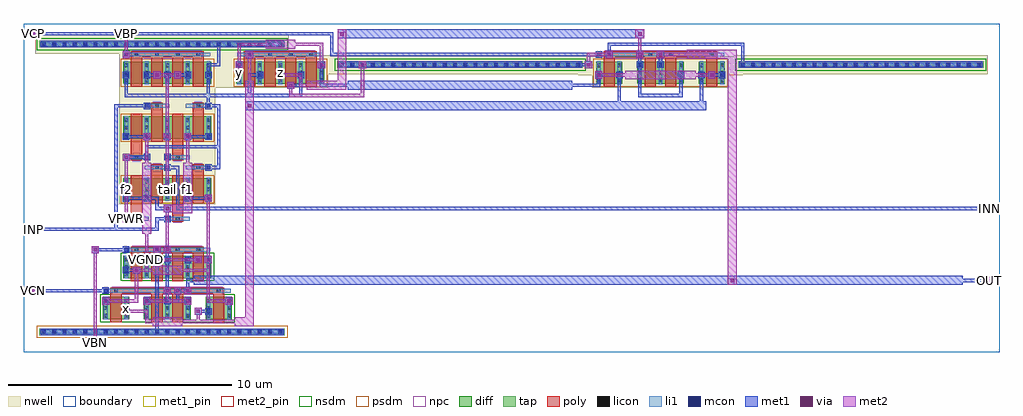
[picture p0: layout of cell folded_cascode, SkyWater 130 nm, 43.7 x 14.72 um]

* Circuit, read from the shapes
.subckt folded_cascode INN INP OUT VBN VBP VCN VCP VGND VPWR f1 f2 tail x y z
XM1 x VCN f1 VGND sky130_fd_pr__nfet_01v8 w=1 l=0.5 m=2
XM2 VGND VBN f1 VGND sky130_fd_pr__nfet_01v8 w=1 l=0.5 m=2
XM3 OUT VCN f2 VGND sky130_fd_pr__nfet_01v8 w=1 l=0.5 m=2
XM4 f2 VBN VGND VGND sky130_fd_pr__nfet_01v8 w=1 l=0.5 m=2
XM5 f2 VPWR f2 VPWR sky130_fd_pr__pfet_01v8 w=1 l=0.5 m=2
XM6 f1 VPWR f1 VPWR sky130_fd_pr__pfet_01v8 w=1 l=0.5 m=2
XM7 tail VBP VPWR VPWR sky130_fd_pr__pfet_01v8 w=1 l=0.5 m=4
XM8 tail INN f2 VPWR sky130_fd_pr__pfet_01v8 w=1 l=0.5 m=2
XM9 tail INP f1 VPWR sky130_fd_pr__pfet_01v8 w=1 l=0.5 m=2
XM10 VPWR x y VPWR sky130_fd_pr__pfet_01v8 w=1 l=0.5 m=2
XM11 z x VPWR VPWR sky130_fd_pr__pfet_01v8 w=1 l=0.5 m=2
XM12 x VCP y VPWR sky130_fd_pr__pfet_01v8 w=1 l=0.5 m=2
XM13 OUT VCP z VPWR sky130_fd_pr__pfet_01v8 w=1 l=0.5 m=2
.ends

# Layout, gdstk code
import gdstk
lib = gdstk.Library(unit=1e-6, precision=1e-09)
def R(c, l, rs):  # rectangles x0, y0, x1, y1
    for r in rs: c.add(gdstk.rectangle(r[:2], r[2:], *l))
def A(c, l, x, y, w, h, nx, ny, dx, dy):  # array of equal rectangles
    R(c, l, [(x+i*dx, y+j*dy, x+i*dx+w, y+j*dy+h) for i in range(nx) for j in range(ny)])
nwell = (64, 20)
diff = (65, 20)
tap = (65, 44)
poly = (66, 20)
licon = (66, 44)
li1 = (67, 20)
mcon = (67, 44)
met1_pin = (68, 16)
met1 = (68, 20)
via = (68, 44)
met2_pin = (69, 16)
met2 = (69, 20)
nsdm = (93, 44)
psdm = (94, 20)
npc = (95, 20)
boundary = (235, 4)

folded_cascode = lib.new_cell('folded_cascode')
R(folded_cascode, nwell, [(4.295,6.625,8.585,11.84), (4.295,11.84,13.645,12.46), (25.455,11.84,31.585,12.41), (24.828,12.41,32.212,12.46), (4.295,12.46,43.165,13.2), (4.295,13.2,25.852,13.25), (31.188,13.2,43.165,13.25), (4.295,13.25,25.225,13.3), (31.815,13.25,43.165,13.3), (4.295,13.3,11.885,13.38), (0.535,13.38,11.885,14.22)])
R(folded_cascode, diff, [(3.555,1.485,4.725,2.485), (5.395,1.485,7.485,2.485), (8.155,1.485,9.325,2.485), (4.475,3.325,8.405,4.325), (4.475,6.805,8.405,7.805), (4.475,9.565,8.405,10.565), (4.475,12.02,8.405,13.02), (9.535,12.02,13.465,13.02), (25.635,12.02,26.805,13.02), (27.475,12.02,29.565,13.02), (30.235,12.02,31.405,13.02)])
R(folded_cascode, tap, [(0.715,0.775,11.705,1.065), (14.055,12.735,25.045,13.025), (31.995,12.735,42.985,13.025), (0.715,13.655,11.705,13.945)])
A(folded_cascode, poly, 4.81, 3.195, 0.5, 1.405, 4, 1, 0.92, 0)
A(folded_cascode, poly, 4.81, 11.89, 0.5, 1.45, 4, 1, 0.92, 0)
A(folded_cascode, poly, 9.87, 11.89, 0.5, 1.45, 4, 1, 0.92, 0)
R(folded_cascode, poly, [(3.89,1.355,4.39,2.76), (5.73,1.355,6.23,2.76), (6.65,1.355,7.15,2.76), (8.49,1.355,8.99,2.76), (3.89,2.625,8.99,2.895), (4.81,4.465,8.07,4.735), (4.81,5.845,5.31,6.115), (6.65,5.845,7.15,6.115), (4.81,5.98,5.31,7.935), (6.65,5.98,7.15,7.935), (5.73,6.675,6.23,8.28), (7.57,6.675,8.07,8.28), (5.73,8.145,6.23,8.415), (7.57,8.145,8.07,8.415), (4.81,8.605,5.31,8.875), (6.65,8.605,7.15,8.875), (4.81,8.74,5.31,10.695), (6.65,8.74,7.15,10.695), (5.73,9.435,6.23,11.04), (7.57,9.435,8.07,11.04), (5.73,10.905,6.23,11.175), (7.57,10.905,8.07,11.175), (25.97,11.89,26.47,13.34), (27.81,11.89,28.31,13.34), (28.73,11.89,29.23,13.34), (30.57,11.89,31.07,13.34), (4.81,13.205,8.07,13.475), (9.87,13.205,13.13,13.475), (25.97,13.205,31.07,13.475)])
A(folded_cascode, licon, 0.835, 0.835, 0.17, 0.17, 24, 2, 0.46, 12.88)
A(folded_cascode, licon, 3.595, 1.56, 0.17, 0.17, 7, 3, 0.92, 0.34)
A(folded_cascode, licon, 4.515, 3.4, 0.17, 0.17, 5, 3, 0.92, 0.34)
A(folded_cascode, licon, 4.975, 4.515, 0.17, 0.17, 4, 2, 0.92, 8.74)
A(folded_cascode, licon, 4.515, 6.88, 0.17, 0.17, 5, 3, 0.92, 0.34)
A(folded_cascode, licon, 4.515, 9.64, 0.17, 0.17, 5, 3, 0.92, 0.34)
A(folded_cascode, licon, 4.515, 12.095, 0.17, 0.17, 5, 3, 0.92, 0.34)
A(folded_cascode, licon, 9.575, 12.095, 0.17, 0.17, 5, 3, 0.92, 0.34)
A(folded_cascode, licon, 25.675, 12.095, 0.17, 0.17, 7, 3, 0.92, 0.34)
A(folded_cascode, licon, 14.175, 12.795, 0.17, 0.17, 24, 1, 0.46, 0)
A(folded_cascode, licon, 32.115, 12.795, 0.17, 0.17, 24, 1, 0.46, 0)
A(folded_cascode, licon, 10.035, 13.255, 0.17, 0.17, 4, 1, 0.92, 0)
R(folded_cascode, licon, [(4.055,2.675,4.225,2.845), (5.895,2.675,6.065,2.845), (6.815,2.675,6.985,2.845), (8.655,2.675,8.825,2.845), (4.975,5.895,5.145,6.065), (6.815,5.895,6.985,6.065), (5.895,8.195,6.065,8.365), (7.735,8.195,7.905,8.365), (4.975,8.655,5.145,8.825), (6.815,8.655,6.985,8.825), (5.895,10.955,6.065,11.125), (7.735,10.955,7.905,11.125), (26.135,13.255,26.305,13.425), (27.975,13.255,28.145,13.425), (28.895,13.255,29.065,13.425), (30.735,13.255,30.905,13.425)])
A(folded_cascode, li1, 3.595, 1.48, 0.17, 1.01, 7, 1, 0.92, 0)
A(folded_cascode, li1, 4.515, 3.32, 0.17, 1.01, 5, 2, 0.92, 3.48)
A(folded_cascode, li1, 4.515, 9.56, 0.17, 1.01, 5, 2, 0.92, 2.455)
A(folded_cascode, li1, 9.575, 12.015, 0.17, 1.01, 5, 1, 0.92, 0)
A(folded_cascode, li1, 25.675, 12.015, 0.17, 1.01, 7, 1, 0.92, 0)
R(folded_cascode, li1, [(0.755,0.835,11.665,1.005), (3.595,2.675,9.285,2.845), (4.515,4.515,8.365,4.685), (4.515,5.895,5.605,6.065), (6.355,5.895,7.445,6.065), (5.435,8.195,6.525,8.365), (7.275,8.195,8.365,8.365), (4.515,8.655,5.605,8.825), (6.355,8.655,7.445,8.825), (5.435,10.955,6.525,11.125), (7.275,10.955,8.365,11.125), (14.095,12.795,25.005,12.965), (32.035,12.795,42.945,12.965), (4.515,13.255,8.365,13.425), (9.575,13.255,13.425,13.425), (25.675,13.255,31.365,13.425), (0.755,13.715,11.665,13.885)])
A(folded_cascode, mcon, 0.835, 0.835, 0.17, 0.17, 24, 2, 0.46, 12.88)
A(folded_cascode, mcon, 5.435, 2.215, 0.17, 0.17, 3, 1, 0.92, 0)
A(folded_cascode, mcon, 5.435, 4.055, 0.17, 0.17, 4, 1, 0.92, 0)
A(folded_cascode, mcon, 4.515, 9.575, 0.17, 0.17, 5, 2, 0.92, 2.76)
A(folded_cascode, mcon, 10.495, 12.335, 0.17, 0.17, 3, 1, 0.92, 0)
A(folded_cascode, mcon, 29.355, 12.335, 0.17, 0.17, 3, 1, 0.92, 0)
A(folded_cascode, mcon, 14.175, 12.795, 0.17, 0.17, 24, 1, 0.46, 0)
A(folded_cascode, mcon, 32.115, 12.795, 0.17, 0.17, 24, 1, 0.46, 0)
R(folded_cascode, mcon, [(4.515,1.755,4.685,1.925), (8.195,1.755,8.365,1.925), (3.595,2.215,3.765,2.385), (9.115,2.215,9.285,2.385), (3.595,2.675,3.765,2.845), (4.515,3.595,4.685,3.765), (4.515,4.515,4.685,4.685), (4.515,5.895,4.685,6.065), (6.355,5.895,6.525,6.065), (4.515,6.815,4.685,6.985), (5.435,6.815,5.605,6.985), (7.275,6.815,7.445,6.985), (8.195,6.815,8.365,6.985), (6.355,7.275,6.525,7.445), (6.355,8.195,6.525,8.365), (8.195,8.195,8.365,8.365), (5.435,8.655,5.605,8.825), (6.355,8.655,6.525,8.825), (5.435,10.955,5.605,11.125), (8.195,10.955,8.365,11.125), (25.675,12.335,25.845,12.505), (26.595,12.335,26.765,12.505), (9.575,12.795,9.745,12.965), (13.255,12.795,13.425,12.965), (27.515,12.795,27.685,12.965), (28.435,12.795,28.605,12.965), (4.515,13.255,4.685,13.425), (10.035,13.255,10.205,13.425), (25.675,13.255,25.845,13.425)])
R(folded_cascode, met1_pin, [(5.375,3.995,5.665,4.285), (4.455,5.835,4.745,6.125)])
A(folded_cascode, met1, 3.52, 2.14, 0.32, 0.32, 4, 1, 1.84, 0)
A(folded_cascode, met1, 5.375, 2.155, 0.29, 0.29, 3, 1, 0.92, 0)
A(folded_cascode, met1, 6.28, 2.6, 0.32, 0.32, 3, 1, 0.46, 0)
A(folded_cascode, met1, 5.375, 3.995, 0.29, 0.29, 4, 1, 0.92, 0)
A(folded_cascode, met1, 5.36, 9.5, 0.32, 0.32, 3, 1, 0.92, 0)
A(folded_cascode, met1, 4.455, 9.515, 0.29, 0.29, 5, 2, 0.92, 2.76)
A(folded_cascode, met1, 4.53, 11.43, 1.98, 0.14, 3, 1, 1.84, 0)
A(folded_cascode, met1, 4.53, 11.43, 0.14, 1.06, 4, 1, 1.84, 0)
A(folded_cascode, met1, 10.435, 12.275, 0.29, 0.29, 3, 1, 0.92, 0)
A(folded_cascode, met1, 29.295, 12.275, 0.29, 0.29, 3, 1, 0.92, 0)
R(folded_cascode, met1, [(0.775,0.775,11.645,1.065), (5.91,0.85,6.05,0.99), (5.91,0.85,6.05,4.21), (4.44,1.68,4.76,2), (7.66,1.68,7.98,2), (4.455,1.695,4.745,1.985), (8.135,1.695,8.425,1.985), (7.75,1.77,8.35,1.91), (3.535,2.155,3.825,2.445), (9.055,2.155,9.345,2.445), (6.37,2.23,6.97,2.37), (6.83,2.23,6.97,2.83), (0.3,2.6,0.62,2.92), (3.535,2.615,3.825,2.905), (0.39,2.69,3.75,2.83), (6.37,2.69,6.51,4.21), (7.29,2.69,7.43,3.29), (7.62,3.02,42.06,3.42), (31.54,3.02,31.94,3.42), (43.08,3.06,43.4,3.38), (7.29,3.15,7.89,3.29), (41.79,3.15,43.31,3.29), (4.9,3.52,5.22,3.84), (4.455,3.535,4.745,3.825), (4.53,3.61,5.13,3.75), (7.66,3.98,7.98,4.3), (8.12,3.98,8.44,4.3), (5.45,4.07,6.05,4.21), (5.91,4.07,6.05,4.67), (6.37,4.07,6.51,4.67), (7.29,4.07,7.89,4.21), (3.06,4.44,3.38,4.76), (5.82,4.44,6.14,4.76), (6.28,4.44,6.6,4.76), (4.455,4.455,4.745,4.745), (3.15,4.53,4.67,4.67), (0.3,5.36,0.62,5.68), (0.39,5.45,6.05,5.59), (4.07,5.45,4.21,11.11), (5.91,5.45,6.05,6.05), (4.44,5.82,4.76,6.14), (4.455,5.835,4.745,6.125), (6.295,5.835,6.585,6.125), (5.91,5.91,6.51,6.05), (6.28,6.28,6.6,6.6), (43.08,6.28,43.4,6.6), (5.91,6.37,6.05,6.97), (5.91,6.37,6.51,6.51), (6.83,6.37,6.97,8.35), (6.83,6.37,43.31,6.51), (8.12,6.74,8.44,7.06), (4.455,6.755,4.745,7.045), (5.375,6.755,5.665,7.045), (7.215,6.755,7.505,7.045), (8.135,6.755,8.425,7.045), (4.53,6.83,5.59,6.97), (5.45,6.83,6.05,6.97), (7.29,6.83,8.35,6.97), (6.28,7.2,6.6,7.52), (6.295,7.215,6.585,7.505), (6.295,8.135,6.585,8.425), (8.135,8.135,8.425,8.425), (6.37,8.21,6.51,8.81), (6.37,8.21,6.97,8.35), (8.21,8.21,8.81,8.35), (8.67,8.21,8.81,11.11), (4.44,8.58,4.76,8.9), (5.375,8.595,5.665,8.885), (6.295,8.595,6.585,8.885), (4.53,8.67,5.59,8.81), (5.45,8.67,5.59,9.27), (5.45,9.13,8.81,9.27), (4.53,9.59,5.59,9.73), (7.29,9.59,8.35,9.73), (9.92,10.84,26.88,11.24), (9.92,10.84,10.32,11.24), (26.48,10.84,30.56,11.24), (5.375,10.895,5.665,11.185), (8.135,10.895,8.425,11.185), (4.07,10.97,5.59,11.11), (8.21,10.97,8.35,11.57), (8.21,10.97,8.81,11.11), (26.61,10.97,26.75,12.49), (30.29,10.97,30.43,12.49), (10.05,11.43,12.49,11.57), (12.35,11.43,12.49,12.49), (27.53,11.43,27.67,12.95), (27.53,11.43,29.51,11.57), (29.37,11.43,29.51,12.49), (14.52,11.76,24.58,12.16), (11.8,11.8,12.12,12.12), (11.89,11.89,12.49,12.03), (13.27,11.89,14.79,12.03), (13.27,11.89,13.41,12.95), (24.31,11.89,25.83,12.03), (25.69,11.89,25.83,12.49), (5.82,12.26,6.14,12.58), (6.74,12.26,7.06,12.58), (11.34,12.26,11.66,12.58), (25.6,12.26,25.92,12.58), (30.66,12.26,30.98,12.58), (25.615,12.275,25.905,12.565), (26.535,12.275,26.825,12.565), (5.45,12.35,6.05,12.49), (6.83,12.35,7.43,12.49), (8.21,12.35,8.35,12.95), (10.05,12.35,10.65,12.49), (30.75,12.35,31.35,12.49), (9.5,12.72,9.82,13.04), (13.18,12.72,13.5,13.04), (15.02,12.72,15.34,13.04), (25.14,12.72,25.46,13.04), (9.515,12.735,9.805,13.025), (13.195,12.735,13.485,13.025), (14.115,12.735,24.985,13.025), (27.455,12.735,27.745,13.025), (28.375,12.735,28.665,13.025), (32.055,12.735,42.925,13.025), (8.21,12.81,8.81,12.95), (8.67,12.81,8.81,13.87), (15.11,12.81,25.37,12.95), (15.11,12.81,15.25,12.95), (27.53,12.81,27.67,13.41), (28.45,12.81,28.59,13.41), (32.13,12.81,32.27,13.87), (32.13,12.81,32.27,12.95), (4.44,13.18,4.76,13.5), (9.96,13.18,10.28,13.5), (26.06,13.18,26.38,13.5), (27.44,13.18,27.76,13.5), (28.36,13.18,28.68,13.5), (4.455,13.195,4.745,13.485), (9.975,13.195,10.265,13.485), (25.615,13.195,25.905,13.485), (13.73,13.27,25.83,13.41), (13.73,13.27,13.87,14.33), (26.15,13.27,26.29,13.87), (0.775,13.655,11.645,13.945), (8.67,13.73,8.81,13.87), (26.15,13.73,32.27,13.87), (14.06,14.06,27.8,14.46), (14.06,14.06,14.46,14.46), (27.4,14.06,27.8,14.46), (0.3,14.1,0.62,14.42), (0.39,14.19,13.87,14.33)])
A(folded_cascode, via, 3.605, 2.225, 0.15, 0.15, 4, 1, 1.84, 0)
A(folded_cascode, via, 6.365, 2.685, 0.15, 0.15, 3, 1, 0.46, 0)
A(folded_cascode, via, 5.445, 9.585, 0.15, 0.15, 3, 1, 0.92, 0)
R(folded_cascode, via, [(4.525,1.765,4.675,1.915), (7.745,1.765,7.895,1.915), (0.385,2.685,0.535,2.835), (31.665,3.145,31.815,3.295), (43.165,3.145,43.315,3.295), (4.985,3.605,5.135,3.755), (7.745,4.065,7.895,4.215), (8.205,4.065,8.355,4.215), (3.145,4.525,3.295,4.675), (5.905,4.525,6.055,4.675), (6.365,4.525,6.515,4.675), (0.385,5.445,0.535,5.595), (4.525,5.905,4.675,6.055), (6.365,6.365,6.515,6.515), (43.165,6.365,43.315,6.515), (8.205,6.825,8.355,6.975), (6.365,7.285,6.515,7.435), (4.525,8.665,4.675,8.815), (10.045,10.965,10.195,11.115), (11.885,11.885,12.035,12.035), (5.905,12.345,6.055,12.495), (6.825,12.345,6.975,12.495), (11.425,12.345,11.575,12.495), (25.685,12.345,25.835,12.495), (30.745,12.345,30.895,12.495), (9.585,12.805,9.735,12.955), (13.265,12.805,13.415,12.955), (15.105,12.805,15.255,12.955), (25.225,12.805,25.375,12.955), (4.525,13.265,4.675,13.415), (10.045,13.265,10.195,13.415), (26.145,13.265,26.295,13.415), (27.525,13.265,27.675,13.415), (28.445,13.265,28.595,13.415), (0.385,14.185,0.535,14.335), (14.185,14.185,14.335,14.335), (27.525,14.185,27.675,14.335)])
R(folded_cascode, met2_pin, [(3.07,0.31,3.37,0.61), (0.31,2.61,0.61,2.91), (43.09,3.07,43.39,3.37), (0.31,5.37,0.61,5.67), (43.09,6.29,43.39,6.59), (0.31,14.11,0.61,14.41), (4.45,14.11,4.75,14.41)])
A(folded_cascode, met2, 3.52, 2.14, 0.32, 0.32, 4, 1, 1.84, 0)
A(folded_cascode, met2, 6.28, 2.6, 0.32, 0.32, 3, 1, 0.46, 0)
A(folded_cascode, met2, 5.36, 9.5, 0.32, 0.32, 3, 1, 0.92, 0)
R(folded_cascode, met2, [(3.07,0.31,3.37,0.61), (3.15,0.39,3.29,0.53), (3.15,0.39,3.29,4.67), (5.78,1.18,7.1,1.58), (9.46,1.18,10.32,1.58), (9.92,1.18,10.32,12.16), (5.45,1.31,5.59,1.91), (5.45,1.31,6.05,1.45), (6.83,1.31,7.89,1.45), (7.75,1.31,7.89,1.91), (7.75,1.31,9.73,1.45), (4.44,1.68,4.76,2), (7.66,1.68,7.98,2), (4.53,1.77,5.59,1.91), (3.61,2.23,5.13,2.37), (4.99,2.23,5.13,3.75), (5.45,2.23,6.51,2.37), (6.37,2.23,7.43,2.37), (6.37,2.23,6.51,2.83), (8.21,2.23,9.27,2.37), (8.21,2.23,8.35,4.21), (0.3,2.6,0.62,2.92), (0.31,2.61,0.61,2.91), (0.39,2.69,0.53,2.83), (6.83,2.69,7.43,2.83), (31.54,3.02,31.94,13.54), (31.54,3.02,31.94,3.42), (43.08,3.06,43.4,3.38), (43.09,3.07,43.39,3.37), (43.17,3.15,43.31,3.29), (5.78,3.48,7.1,3.88), (4.9,3.52,5.22,3.84), (4.99,3.61,6.05,3.75), (5.45,3.61,5.59,5.59), (6.83,3.61,8.35,3.75), (7.66,3.98,7.98,4.3), (8.12,3.98,8.44,4.3), (5.91,4.07,6.05,4.67), (5.91,4.07,7.89,4.21), (8.21,4.07,8.35,6.97), (3.06,4.44,3.38,4.76), (5.82,4.44,6.14,4.76), (6.28,4.44,6.6,4.76), (6.37,4.53,6.51,6.51), (5.32,5.32,5.72,8.48), (0.3,5.36,0.62,5.68), (0.31,5.37,0.61,5.67), (0.39,5.45,0.53,5.59), (4.44,5.82,4.76,6.14), (4.53,5.91,4.67,8.81), (6.7,6.24,7.56,6.64), (7.16,6.24,7.56,8.48), (6.28,6.28,6.6,6.6), (6.6,6.28,6.7,6.6), (43.08,6.28,43.4,6.6), (43.09,6.29,43.39,6.59), (6.37,6.37,6.97,6.51), (43.17,6.37,43.31,6.51), (8.12,6.74,8.44,7.06), (6.28,7.2,6.6,7.52), (6.37,7.29,6.51,9.73), (5.45,8.21,5.59,9.73), (7.29,8.21,7.43,9.73), (4.44,8.58,4.76,8.9), (6.37,9.59,6.51,12.49), (9.92,10.84,10.32,11.24), (11.89,11.43,12.03,12.03), (11.89,11.43,15.25,11.57), (15.11,11.43,15.25,12.95), (12.68,11.76,14.46,12.16), (14.06,11.76,14.46,14.46), (11.8,11.8,12.12,12.12), (10.05,11.89,10.19,13.41), (12.35,11.89,12.49,12.49), (12.35,11.89,12.95,12.03), (26.94,12.22,30.1,12.62), (5.82,12.26,6.14,12.58), (6.74,12.26,7.06,12.58), (11.34,12.26,11.66,12.58), (25.6,12.26,25.92,12.58), (30.66,12.26,30.98,12.58), (5.91,12.35,6.51,12.49), (6.37,12.35,6.97,12.49), (11.43,12.35,12.49,12.49), (25.69,12.35,27.21,12.49), (29.83,12.35,30.89,12.49), (9.5,12.72,9.82,13.04), (13.18,12.72,13.5,13.04), (15.02,12.72,15.34,13.04), (25.14,12.72,25.46,13.04), (9.59,12.81,9.73,13.87), (13.27,12.81,13.41,13.87), (25.23,12.81,25.37,13.41), (29.7,13.14,31.94,13.54), (4.44,13.18,4.76,13.5), (9.96,13.18,10.28,13.5), (26.06,13.18,26.38,13.5), (27.44,13.18,27.76,13.5), (28.36,13.18,28.68,13.5), (4.53,13.27,4.67,14.33), (25.23,13.27,26.29,13.41), (27.53,13.27,27.67,14.33), (28.45,13.27,29.97,13.41), (10.84,13.6,12.16,14), (9.59,13.73,11.11,13.87), (11.89,13.73,13.41,13.87), (14.06,14.06,14.46,14.46), (27.4,14.06,27.8,14.46), (0.3,14.1,0.62,14.42), (0.31,14.11,0.61,14.41), (4.45,14.11,4.75,14.41), (0.39,14.19,0.53,14.33), (4.53,14.19,4.67,14.33)])
R(folded_cascode, nsdm, [(3.43,1.36,9.45,2.61), (4.35,3.2,8.53,4.45), (13.93,12.61,25.17,13.15), (31.87,12.61,43.11,13.15), (0.59,13.53,11.83,14.07)])
R(folded_cascode, psdm, [(0.59,0.65,11.83,1.19), (4.35,6.68,8.53,7.93), (4.35,9.44,8.53,10.69), (4.35,11.895,8.53,13.145), (9.41,11.895,13.59,13.145), (25.51,11.895,31.53,13.145)])
R(folded_cascode, npc, [(3.955,2.575,8.925,2.945), (4.875,4.415,8.005,4.785), (4.875,5.795,5.245,6.165), (6.715,5.795,7.085,6.165), (5.795,8.095,6.165,8.465), (7.635,8.095,8.005,8.465), (4.875,8.555,5.245,8.925), (6.715,8.555,7.085,8.925), (5.795,10.855,6.165,11.225), (7.635,10.855,8.005,11.225), (4.875,13.155,8.005,13.525), (9.935,13.155,13.065,13.525), (26.035,13.155,31.005,13.525)])
R(folded_cascode, boundary, [(0,0,43.7,14.72)])
folded_cascode.add(gdstk.Label('f2', (4.6,7.305), layer=67, texttype=5))
folded_cascode.add(gdstk.Label('tail', (6.44,7.305), layer=67, texttype=5))
folded_cascode.add(gdstk.Label('f1', (7.36,7.305), layer=67, texttype=5))
folded_cascode.add(gdstk.Label('x', (4.6,1.985), layer=67, texttype=5))
folded_cascode.add(gdstk.Label('y', (9.66,12.52), layer=67, texttype=5))
folded_cascode.add(gdstk.Label('z', (11.5,12.52), layer=67, texttype=5))
folded_cascode.add(gdstk.Label('VPWR', (4.6,5.98), layer=68, texttype=5))
folded_cascode.add(gdstk.Label('VGND', (5.52,4.14), layer=68, texttype=5))
folded_cascode.add(gdstk.Label('INP', (0.46,5.52), layer=69, texttype=5))
folded_cascode.add(gdstk.Label('INN', (43.24,6.44), layer=69, texttype=5))
folded_cascode.add(gdstk.Label('VBP', (4.6,14.26), layer=69, texttype=5))
folded_cascode.add(gdstk.Label('VBN', (3.22,0.46), layer=69, texttype=5))
folded_cascode.add(gdstk.Label('VCN', (0.46,2.76), layer=69, texttype=5))
folded_cascode.add(gdstk.Label('VCP', (0.46,14.26), layer=69, texttype=5))
folded_cascode.add(gdstk.Label('OUT', (43.24,3.22), layer=69, texttype=5))
folded_cascode.add(gdstk.Label('VPWR', (4.6,5.98), layer=68, texttype=16))
folded_cascode.add(gdstk.Label('VGND', (5.52,4.14), layer=68, texttype=16))
folded_cascode.add(gdstk.Label('INP', (0.46,5.52), layer=69, texttype=16))
folded_cascode.add(gdstk.Label('INN', (43.24,6.44), layer=69, texttype=16))
folded_cascode.add(gdstk.Label('VBP', (4.6,14.26), layer=69, texttype=16))
folded_cascode.add(gdstk.Label('VBN', (3.22,0.46), layer=69, texttype=16))
folded_cascode.add(gdstk.Label('VCN', (0.46,2.76), layer=69, texttype=16))
folded_cascode.add(gdstk.Label('VCP', (0.46,14.26), layer=69, texttype=16))
folded_cascode.add(gdstk.Label('OUT', (43.24,3.22), layer=69, texttype=16))

lib.write_gds('folded_cascode.gds')
